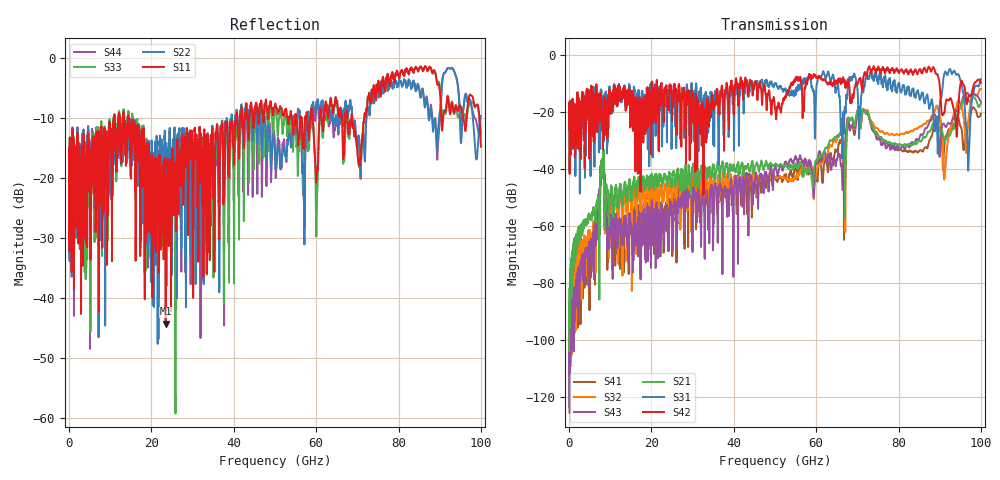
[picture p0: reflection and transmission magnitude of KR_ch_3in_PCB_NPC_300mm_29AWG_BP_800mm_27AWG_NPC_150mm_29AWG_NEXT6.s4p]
# GHz S RI R 45
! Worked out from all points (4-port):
!   4000 points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, 25 MHz to 100 GHz, reference 45 ohm
!   strongest paths, dB at 25 MHz, 25.02 GHz, 50.02 GHz, 75.03 GHz, 100 GHz:
!     S42: -21.2, -20.7, -18.6, -4.1, -9.8
!     S31: -21.2, -15.8, -10.2, -9.6, -8.4
!     S21: -103.8, -43.1, -38.3, -28.3, -17.0
!     S43: -123.3, -59.8, -39.4, -29.6, -16.4
!     S32: -108.7, -52.4, -42.9, -25.8, -11.9
!     S41: -111.6, -69.5, -43.0, -28.0, -20.5
!   lowest |S11| = -44.3 dB at 23.48 GHz (marker M1), VSWR 1.01, Z = 44.5 - j0.176 ohm
!   |S11| at or under -10 dB: start of sweep to 10.94 GHz; 14.45 GHz to 40.65 GHz (26.19 GHz wide, 95.1 % of centre); 68.74 GHz to 71.68 GHz (2.94 GHz wide, 4.19 % of centre) (the widest 3 of 39)
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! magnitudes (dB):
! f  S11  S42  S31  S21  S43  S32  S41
! 25 MHz  -16.6  -21.2  -21.2  -103.8  -123.3  -108.7  -111.6
! 8.1 GHz  -18.4  -19.4  -21.3  -43.3  -40.9  -42.3  -40.6
! 10.88 GHz  -10.2  -10.6  -10.3  -52.5  -57.2  -57.1  -58.6
! 23.48 GHz  -44.3  -11.9  -15.8  -42.8  -56.5  -46.6  -53.4
! 91.25 GHz  -8.8  -18.6  -6.0  -30.4  -24.8  -42.1  -30.2
! 96.85 GHz  -7.7  -15.2  -36.6  -15.2  -13.4  -24.4  -23.9
! 100 GHz  -14.8  -9.8  -8.4  -17.0  -16.4  -11.9  -20.5
